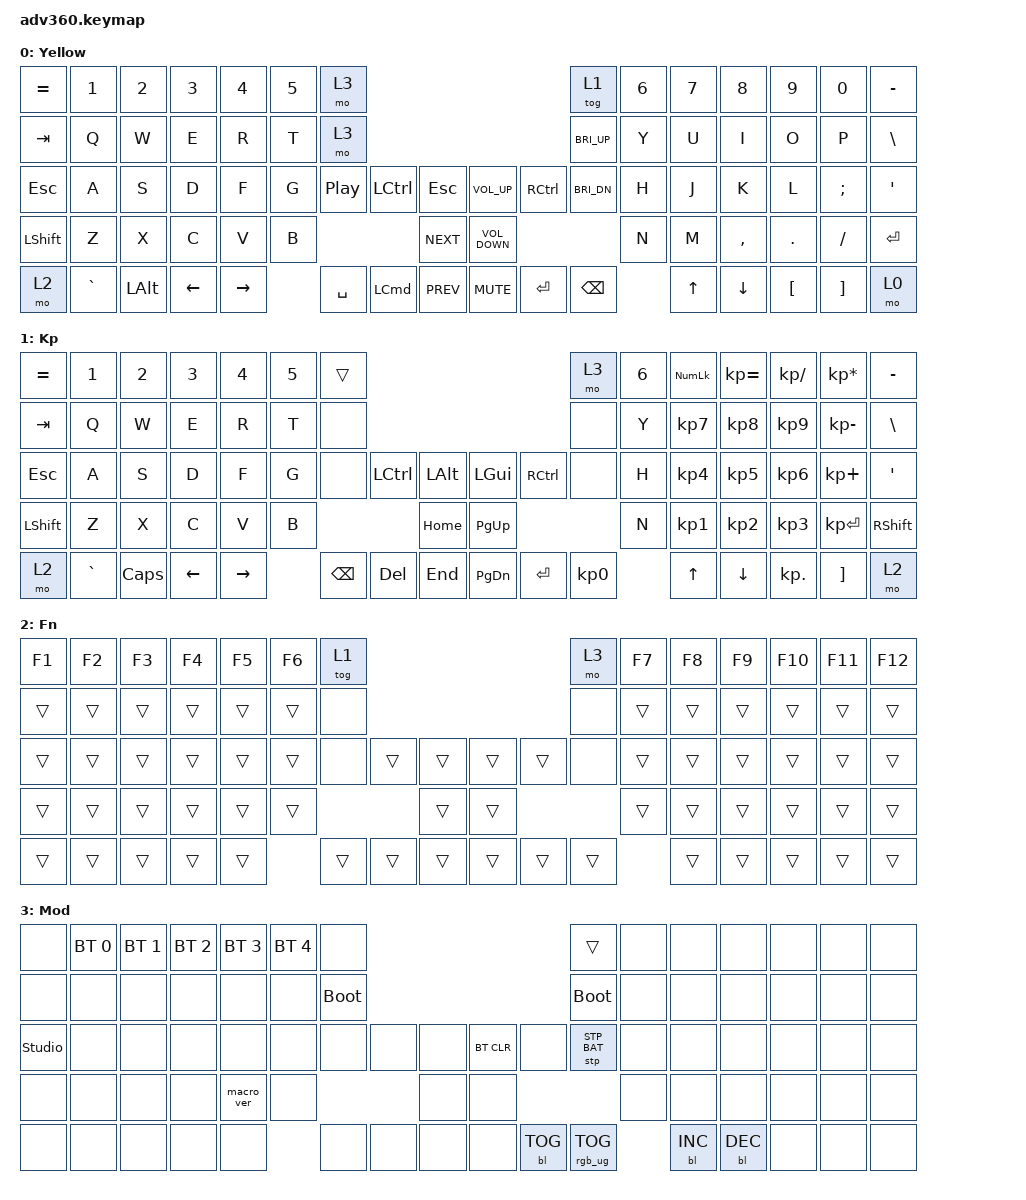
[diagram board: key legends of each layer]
/*
 * Copyright (c) 2020 The ZMK Contributors
 *
 * SPDX-License-Identifier: MIT
 */
/* THIS FILE WAS GENERATED!
 *
 * This file was generated automatically. You may or may not want to
 * edit it directly.
 */

#include <dt-bindings/zmk/stp.h>
#include <behaviors.dtsi>
#include <dt-bindings/zmk/backlight.h>
#include <dt-bindings/zmk/bt.h>
#include <dt-bindings/zmk/keys.h>
#include <dt-bindings/zmk/rgb.h>

/ {
    behaviors {
        #include "macros.dtsi"
      #include "version.dtsi"

        hm: homerow_mods {
            compatible = "zmk,behavior-hold-tap";
            label = "HOMEROW_MODS";
            #binding-cells = <2>;
            tapping-term-ms = <200>;
            quick_tap_ms = <175>;
            flavor = "tap-preferred";
            bindings = <&kp>, <&kp>;
        };
    };

    keymap {
        compatible = "zmk,keymap";

        default {
            bindings = <
&kp EQUAL       &kp N1     &kp N2        &kp N3    &kp N4     &kp N5  &mo 3                                                                      &tog 1         &kp N6  &kp N7  &kp N8     &kp N9            &kp N0    &kp MINUS
&kp TAB         &kp Q      &kp W         &kp E     &kp R      &kp T   &mo 3                                                                      &kp C_BRI_UP   &kp Y   &kp U   &kp I      &kp O             &kp P     &kp BSLH
&kp ESC         &kp A      &kp S         &kp D     &kp F      &kp G   &kp C_PP   &kp LCTRL         &kp ESC         &kp C_VOLUME_UP    &kp RCTRL  &kp C_BRI_DN   &kp H   &kp J   &kp K      &kp L             &kp SEMI  &kp SQT
&kp LEFT_SHIFT  &kp Z      &kp X         &kp C     &kp V      &kp B                                &kp C_NEXT      &kp C_VOLUME_DOWN                            &kp N   &kp M   &kp COMMA  &kp DOT           &kp FSLH  &kp RETURN
&mo 2           &kp GRAVE  &kp LEFT_ALT  &kp LEFT  &kp RIGHT          &kp SPACE  &kp LEFT_COMMAND  &kp C_PREV      &kp C_MUTE         &kp ENTER  &kp BACKSPACE          &kp UP  &kp DOWN   &kp LEFT_BRACKET  &kp RBKT  &mo 0
            >;

            label = "Yellow";
        };

        keypad {
            display-name = "Kp";
            bindings = <
&kp EQUAL  &kp N1     &kp N2    &kp N3    &kp N4     &kp N5  &trans                                                   &mo 3      &kp N6  &kp KP_NUM  &kp KP_EQUAL  &kp KP_DIVIDE  &kp KP_MULTIPLY  &kp MINUS
&kp TAB    &kp Q      &kp W     &kp E     &kp R      &kp T   &none                                                    &none      &kp Y   &kp KP_N7   &kp KP_N8     &kp KP_N9      &kp KP_MINUS     &kp BSLH
&kp ESC    &kp A      &kp S     &kp D     &kp F      &kp G   &none     &kp LCTRL  &kp LALT      &kp LGUI   &kp RCTRL  &none      &kp H   &kp KP_N4   &kp KP_N5     &kp KP_N6      &kp KP_PLUS      &kp SQT
&kp LSHFT  &kp Z      &kp X     &kp C     &kp V      &kp B                        &kp HOME      &kp PG_UP                        &kp N   &kp KP_N1   &kp KP_N2     &kp KP_N3      &kp KP_ENTER     &kp RSHFT
&mo 2      &kp GRAVE  &kp CAPS  &kp LEFT  &kp RIGHT          &kp BSPC  &kp DEL    &kp END       &kp PG_DN  &kp ENTER  &kp KP_N0          &kp UP      &kp DOWN      &kp KP_DOT     &kp RBKT         &mo 2
            >;

            label = "Green";
        };

        fn {
            display-name = "Fn";
            bindings = <
&kp F1  &kp F2  &kp F3  &kp F4  &kp F5  &kp F6  &tog 1                                      &mo 3   &kp F7  &kp F8  &kp F9  &kp F10  &kp F11  &kp F12
&trans  &trans  &trans  &trans  &trans  &trans  &none                                       &none   &trans  &trans  &trans  &trans   &trans   &trans
&trans  &trans  &trans  &trans  &trans  &trans  &none   &trans  &trans      &trans  &trans  &none   &trans  &trans  &trans  &trans   &trans   &trans
&trans  &trans  &trans  &trans  &trans  &trans                  &trans      &trans                  &trans  &trans  &trans  &trans   &trans   &trans
&trans  &trans  &trans  &trans  &trans          &trans  &trans  &trans      &trans  &trans  &trans          &trans  &trans  &trans   &trans   &trans
            >;

            label = "Blue";
        };

        mod {
            display-name = "Mod";
            bindings = <
&none           &bt BT_SEL 0  &bt BT_SEL 1  &bt BT_SEL 2  &bt BT_SEL 3  &bt BT_SEL 4  &none                                                  &trans           &none  &none       &none       &none  &none  &none
&none           &none         &none         &none         &none         &none         &bootloader                                            &bootloader      &none  &none       &none       &none  &none  &none
&studio_unlock  &none         &none         &none         &none         &none         &none        &none  &none      &bt BT_CLR  &none       &stp STP_BAT     &none  &none       &none       &none  &none  &none
&none           &none         &none         &none         &macro_ver    &none                             &none      &none                                    &none  &none       &none       &none  &none  &none
&none           &none         &none         &none         &none                       &none        &none  &none      &none       &bl BL_TOG  &rgb_ug RGB_TOG         &bl BL_INC  &bl BL_DEC  &none  &none  &none
            >;

            label = "Red";
        };
    };
};
